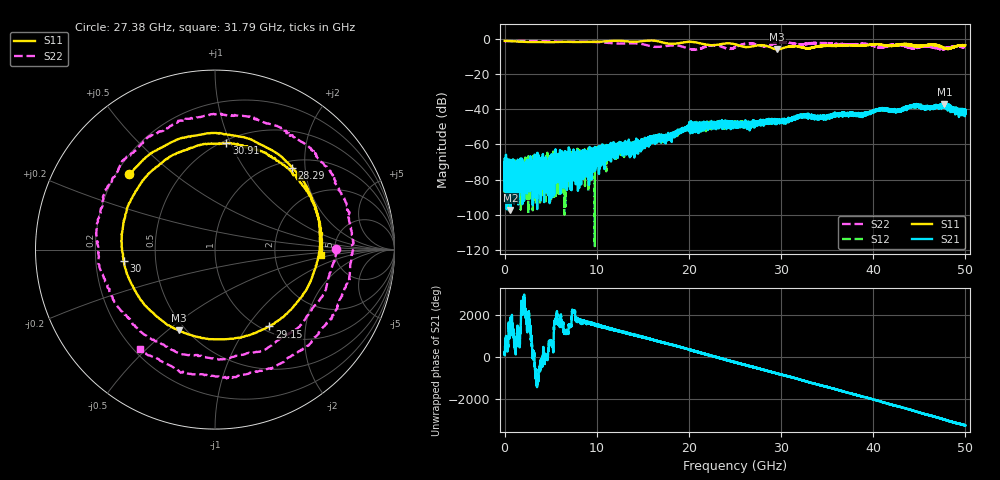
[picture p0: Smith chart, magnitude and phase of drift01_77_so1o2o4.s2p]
!Created with skrf (http://scikit-rf.org).
# Hz S RI R 50.0
!freq ReS11 ImS11 ReS21 ImS21 ReS12 ImS12 ReS22 ImS22
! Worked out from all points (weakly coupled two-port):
!   10001 points, 300 kHz to 50 GHz, reference 50 ohm
!   highest |S21| = -37.04 dB at 47.73 GHz (marker M1); lowest = -97.2 dB at 620.3 MHz (marker M2)
!   lowest |S11| = -6.1 dB at 29.57 GHz (marker M3), VSWR 2.94, Z = 23 - j27.4 ohm
!   |S11| at or under -10 dB: nowhere
!   |S22| runs from -6.4 to -1.3 dB; largest |S21 - S12| = 0.0038
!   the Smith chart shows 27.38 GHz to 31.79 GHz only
!   S11 on the Smith chart (normalised r, x): 27.38 GHz: 0.25, +0.36; 28.29 GHz: 1.13, +1.71; 29.15 GHz: 1.08, -1.28; 30 GHz: 0.32, -0.05; 30.91 GHz: 0.52, +0.96; 31.79 GHz: 3.88, -0.39
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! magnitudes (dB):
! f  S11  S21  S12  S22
! 300 kHz  -1.3  -70.1  -70.4  -2.1
! 250.3 MHz  -1.4  -70.0  -75.4  -1.4
! 620.3 MHz  -1.4  -97.2  -73.8  -1.4
! 3.765 GHz  -2.0  -76.6  -74.1  -1.5
! 8.335 GHz  -2.0  -68.5  -74.3  -1.8
! 16.67 GHz  -1.6  -56.3  -57.7  -4.8
! 20.25 GHz  -1.9  -50.1  -50.0  -6.1
! 22.62 GHz  -3.8  -49.6  -49.2  -3.8
! 25 GHz  -3.3  -50.2  -48.6  -5.0
! 27.38 GHz  -3.9  -47.6  -48.3  -3.4
! 28.29 GHz  -4.1  -48.4  -47.5  -4.4
! 29.15 GHz  -5.6  -46.4  -47.8  -3.1
! 29.57 GHz  -6.1  -46.5  -47.4  -2.5
! 30 GHz  -5.8  -46.8  -46.4  -2.3
! 30.91 GHz  -4.5  -45.9  -46.4  -2.5
! 31.79 GHz  -4.5  -44.4  -44.4  -3.2
! 33.34 GHz  -5.2  -44.2  -44.2  -2.7
! 41.67 GHz  -4.3  -40.6  -40.2  -3.9
! 44.47 GHz  -4.0  -38.5  -39.3  -5.4
! 46.53 GHz  -3.5  -39.6  -39.6  -5.0
! 47.73 GHz  -5.5  -37.0  -37.4  -5.8
! 50 GHz  -3.8  -42.4  -40.1  -5.2
